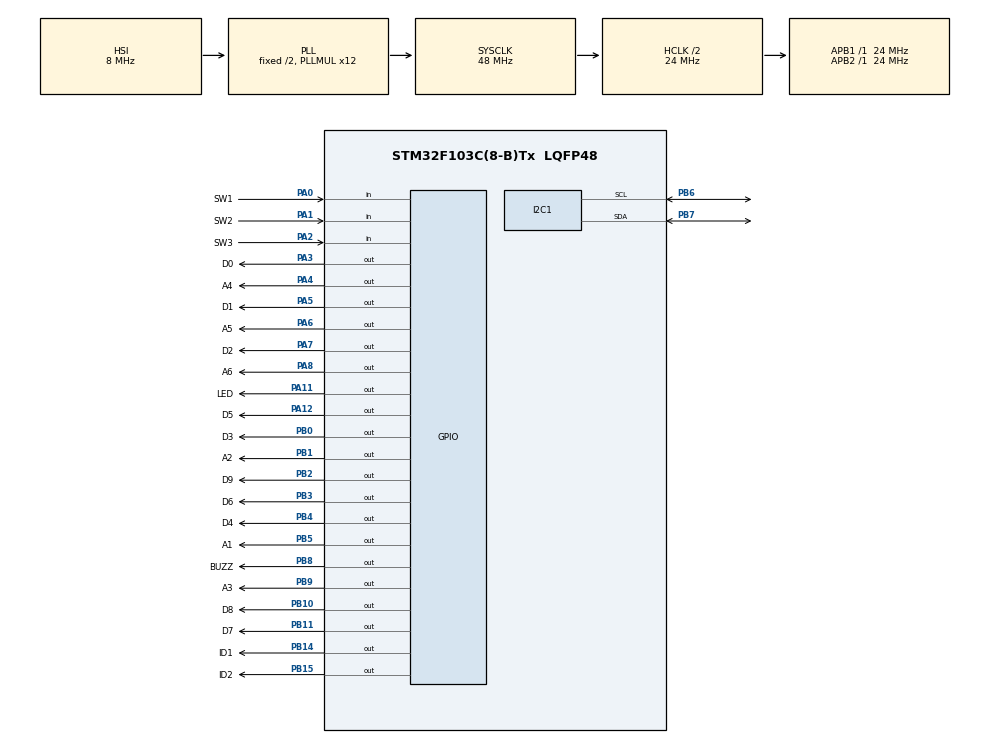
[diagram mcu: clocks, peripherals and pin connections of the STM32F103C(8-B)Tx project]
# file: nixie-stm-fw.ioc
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Mcu.Family=STM32F1
Mcu.Name=STM32F103C(8-B)Tx
Mcu.Package=LQFP48
NVIC.PriorityGroup=NVIC_PRIORITYGROUP_4
PA0-WKUP.GPIO_Label=SW1
PA0-WKUP.GPIO_PuPd=GPIO_PULLUP
PA0-WKUP.Signal=GPIO_Input
PA1.GPIO_Label=SW2
PA1.GPIO_PuPd=GPIO_PULLUP
PA1.Signal=GPIO_Input
PA11.GPIO_Label=LED
PA11.Signal=GPIO_Output
PA12.GPIO_Label=D5
PA12.Signal=GPIO_Output
PA13.Mode=Serial_Wire
PA13.Signal=SYS_JTMS-SWDIO
PA14.Mode=Serial_Wire
PA14.Signal=SYS_JTCK-SWCLK
PA2.GPIO_Label=SW3
PA2.GPIO_PuPd=GPIO_PULLUP
PA2.Signal=GPIO_Input
PA3.GPIO_Label=D0
PA3.Signal=GPIO_Output
PA4.GPIO_Label=A4
PA4.Signal=GPIO_Output
PA5.GPIO_Label=D1
PA5.Signal=GPIO_Output
PA6.GPIO_Label=A5
PA6.Signal=GPIO_Output
PA7.GPIO_Label=D2
PA7.Signal=GPIO_Output
PA8.GPIO_Label=A6
PA8.Signal=GPIO_Output
PB0.GPIO_Label=D3
PB0.Signal=GPIO_Output
PB1.GPIO_Label=A2
PB1.Signal=GPIO_Output
PB10.GPIO_Label=D8
PB10.Signal=GPIO_Output
PB11.GPIO_Label=D7
PB11.Signal=GPIO_Output
PB14.GPIO_Label=ID1
PB14.Signal=GPIO_Output
PB15.GPIO_Label=ID2
PB15.Signal=GPIO_Output
PB2.GPIO_Label=D9
PB2.Signal=GPIO_Output
PB3.GPIO_Label=D6
PB3.Signal=GPIO_Output
PB4.GPIO_Label=D4
PB4.Signal=GPIO_Output
PB5.GPIO_Label=A1
PB5.Signal=GPIO_Output
PB6.Mode=I2C
PB6.Signal=I2C1_SCL
PB7.Mode=I2C
PB7.Signal=I2C1_SDA
PB8.GPIO_Label=BUZZ
PB8.Signal=GPIO_Output
PB9.GPIO_Label=A3
PB9.Signal=GPIO_Output
ProjectManager.HeapSize=0x200
ProjectManager.StackSize=0x400
ProjectManager.TargetToolchain=CMake
RCC.AHBCLKDivider=RCC_SYSCLK_DIV2
RCC.AHBFreq_Value=24000000
RCC.APB1Freq_Value=24000000
RCC.APB1TimFreq_Value=24000000
RCC.APB2Freq_Value=24000000
RCC.APB2TimFreq_Value=24000000
RCC.HCLKFreq_Value=24000000
RCC.PLLMUL=RCC_PLL_MUL12
RCC.SYSCLKFreq_VALUE=48000000
RCC.SYSCLKSource=RCC_SYSCLKSOURCE_PLLCLK
RCC.USBFreq_Value=48000000
VP_RTC_VS_RTC_Activate.Mode=RTC_Enabled
board=custom

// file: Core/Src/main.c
/* USER CODE BEGIN Header */
/**
 ******************************************************************************
 * @file           : main.c
 * @brief          : Main program body
 ******************************************************************************
 * @attention
 *
 * Copyright (c) 2025 STMicroelectronics.
 * All rights reserved.
 *
 * This software is licensed under terms that can be found in the LICENSE file
 * in the root directory of this software component.
 * If no LICENSE file comes with this software, it is provided AS-IS.
 *
 ******************************************************************************
 */
/* USER CODE END Header */
#include "main.h"

/* USER CODE BEGIN Includes */
#include "OneButtonC.h"
#include "nixie.h"
/* USER CODE END Includes */

/* USER CODE BEGIN PTD */
typedef enum
{
  STATE_DISPLAY_TIME = 0,
  STATE_DISPLAY_DATE,
  STATE_SETTING_HOURS,
  STATE_SETTING_MINUTES,
  STATE_SETTING_SECONDS,
  STATE_SETTINGS_DAY,
  STATE_SETTINGS_MONTH,
  STATE_SETTINGS_YEAR
} SystemState_t;
/* USER CODE END PTD */

/* USER CODE BEGIN PD */
#define DS3231_I2C_ADDR 0x68

#define DS3231_REG_SECOND 0x00
#define DS3231_REG_DOW 0x03

#define NIXIE_REFRESH_MS 2
#define TIME_REFRESH_MS 1000
#define TIME_SYNC_MS 60000
/* USER CODE END PD */

I2C_HandleTypeDef hi2c1;

RTC_HandleTypeDef hrtc;

/* USER CODE BEGIN PV */
uint32_t currentMs;

RTC_TimeTypeDef sTime;
RTC_DateTypeDef sDate;

RTC_TimeTypeDef sUpdTime;
RTC_DateTypeDef sUpdDate;

OneButton_t button1;
OneButton_t button2;
OneButton_t button3;

SystemState_t state = STATE_DISPLAY_TIME;

uint32_t timeLastRefreshMs = 0;
/* USER CODE END PV */

void SystemClock_Config(void);
static void MX_GPIO_Init(void);
static void MX_I2C1_Init(void);
static void MX_RTC_Init(void);
/* USER CODE BEGIN PFP */
RTC_TimeTypeDef ds3231_getTime(void);
RTC_DateTypeDef ds3231_getDate(void);
void ds3231_setTime(RTC_TimeTypeDef *time);
void ds3231_setDate(RTC_DateTypeDef *date);
void syncTimeWithDS3231(void);

void button1Press(void);
void button2Press(void);
void button3Press(void);

void displayTime(void);
void displayDate(void);
void setHours(void);
void setMinutes(void);
void setSeconds(void);
void setDay(void);
void setMonth(void);
void setYear(void);
uint8_t getDaysInMonth(uint8_t month, uint8_t year);
/* USER CODE END PFP */

int main(void)
{

  /* MCU Configuration--------------------------------------------------------*/

  /* Reset of all peripherals, Initializes the Flash interface and the Systick. */
  HAL_Init();

  /* Configure the system clock */
  SystemClock_Config();

  /* Initialize all configured peripherals */
  MX_GPIO_Init();
  MX_I2C1_Init();
  MX_RTC_Init();
  /* USER CODE BEGIN 2 */
  uint32_t nixieLastRefreshMs = 0;
  uint32_t syncTimeLastRefreshMs = 0;

  OB_Init(&button1);
  OB_Setup(&button1, SW1_GPIO_Port, SW1_Pin, true);
  OB_AttachCallback(&button1, OB_EV_PRESS, button1Press);

  OB_Init(&button2);
  OB_Setup(&button2, SW2_GPIO_Port, SW2_Pin, true);
  OB_AttachCallback(&button2, OB_EV_PRESS, button2Press);

  OB_Init(&button3);
  OB_Setup(&button3, SW3_GPIO_Port, SW3_Pin, true);
  OB_AttachCallback(&button3, OB_EV_PRESS, button3Press);

  nixie_setDigits((uint8_t[]){0, 0, 0, 0, 0, 0}); // Set initial digits to display
  syncTimeWithDS3231();                           // Sync time from DS3231 to RTC
  /* USER CODE END 2 */

  /* Infinite loop */
  /* USER CODE BEGIN WHILE */
  while (1)
  {
    OB_Tick(&button1);
    OB_Tick(&button2);
    OB_Tick(&button3);

    currentMs = HAL_GetTick();

    switch (state)
    {
    case STATE_DISPLAY_TIME:
      displayTime();
      break;
    case STATE_DISPLAY_DATE:
      displayDate();
      break;
    case STATE_SETTING_HOURS:
      setHours();
      break;
    case STATE_SETTING_MINUTES:
      setMinutes();
      break;
    case STATE_SETTING_SECONDS:
      setSeconds();
      break;
    case STATE_SETTINGS_DAY:
      setDay();
      break;
    case STATE_SETTINGS_MONTH:
      setMonth();
      break;
    case STATE_SETTINGS_YEAR:
      setYear();
      break;
    default:
      break;
    }

    if ((currentMs - nixieLastRefreshMs) >= NIXIE_REFRESH_MS)
    {
      nixieLastRefreshMs = currentMs;
      nixie_refresh();
    }

    if ((currentMs - syncTimeLastRefreshMs) >= TIME_SYNC_MS)
    { // Every minute, sync time from DS3231 to RTC
      syncTimeLastRefreshMs = currentMs;
      syncTimeWithDS3231();
    }
    /* USER CODE END WHILE */

  }
}

void SystemClock_Config(void)
{
  RCC_OscInitTypeDef RCC_OscInitStruct = {0};
  RCC_ClkInitTypeDef RCC_ClkInitStruct = {0};
  RCC_PeriphCLKInitTypeDef PeriphClkInit = {0};

  /** Initializes the RCC Oscillators according to the specified parameters
   * in the RCC_OscInitTypeDef structure.
   */
  RCC_OscInitStruct.OscillatorType = RCC_OSCILLATORTYPE_HSI | RCC_OSCILLATORTYPE_LSI;
  RCC_OscInitStruct.HSIState = RCC_HSI_ON;
  RCC_OscInitStruct.HSICalibrationValue = RCC_HSICALIBRATION_DEFAULT;
  RCC_OscInitStruct.LSIState = RCC_LSI_ON;
  RCC_OscInitStruct.PLL.PLLState = RCC_PLL_ON;
  RCC_OscInitStruct.PLL.PLLSource = RCC_PLLSOURCE_HSI_DIV2;
  RCC_OscInitStruct.PLL.PLLMUL = RCC_PLL_MUL12;
  if (HAL_RCC_OscConfig(&RCC_OscInitStruct) != HAL_OK)
  {
    Error_Handler();
  }

  /** Initializes the CPU, AHB and APB buses clocks
   */
  RCC_ClkInitStruct.ClockType = RCC_CLOCKTYPE_HCLK | RCC_CLOCKTYPE_SYSCLK | RCC_CLOCKTYPE_PCLK1 | RCC_CLOCKTYPE_PCLK2;
  RCC_ClkInitStruct.SYSCLKSource = RCC_SYSCLKSOURCE_PLLCLK;
  RCC_ClkInitStruct.AHBCLKDivider = RCC_SYSCLK_DIV2;
  RCC_ClkInitStruct.APB1CLKDivider = RCC_HCLK_DIV1;
  RCC_ClkInitStruct.APB2CLKDivider = RCC_HCLK_DIV1;

  if (HAL_RCC_ClockConfig(&RCC_ClkInitStruct, FLASH_LATENCY_1) != HAL_OK)
  {
    Error_Handler();
  }
  PeriphClkInit.PeriphClockSelection = RCC_PERIPHCLK_RTC;
  PeriphClkInit.RTCClockSelection = RCC_RTCCLKSOURCE_LSI;
  if (HAL_RCCEx_PeriphCLKConfig(&PeriphClkInit) != HAL_OK)
  {
    Error_Handler();
  }
}

static void MX_I2C1_Init(void)
{

  hi2c1.Instance = I2C1;
  hi2c1.Init.ClockSpeed = 100000;
  hi2c1.Init.DutyCycle = I2C_DUTYCYCLE_2;
  hi2c1.Init.OwnAddress1 = 0;
  hi2c1.Init.AddressingMode = I2C_ADDRESSINGMODE_7BIT;
  hi2c1.Init.DualAddressMode = I2C_DUALADDRESS_DISABLE;
  hi2c1.Init.OwnAddress2 = 0;
  hi2c1.Init.GeneralCallMode = I2C_GENERALCALL_DISABLE;
  hi2c1.Init.NoStretchMode = I2C_NOSTRETCH_DISABLE;
  if (HAL_I2C_Init(&hi2c1) != HAL_OK)
  {
    Error_Handler();
  }
}

static void MX_RTC_Init(void)
{

  /** Initialize RTC Only
   */
  hrtc.Instance = RTC;
  hrtc.Init.AsynchPrediv = RTC_AUTO_1_SECOND;
  hrtc.Init.OutPut = RTC_OUTPUTSOURCE_ALARM;
  if (HAL_RTC_Init(&hrtc) != HAL_OK)
  {
    Error_Handler();
  }
}

static void MX_GPIO_Init(void)
{
  GPIO_InitTypeDef GPIO_InitStruct = {0};

  /* GPIO Ports Clock Enable */
  __HAL_RCC_GPIOA_CLK_ENABLE();
  __HAL_RCC_GPIOB_CLK_ENABLE();

  /*Configure GPIO pin Output Level */
  HAL_GPIO_WritePin(GPIOA, D0_Pin | A4_Pin | D1_Pin | A5_Pin | D2_Pin | A6_Pin | LED_Pin | D5_Pin, GPIO_PIN_RESET);

  /*Configure GPIO pin Output Level */
  HAL_GPIO_WritePin(GPIOB, D3_Pin | A2_Pin | D9_Pin | D8_Pin | D7_Pin | ID1_Pin | ID2_Pin | D6_Pin | D4_Pin | A1_Pin | BUZZ_Pin | A3_Pin, GPIO_PIN_RESET);

  /*Configure GPIO pins : SW1_Pin SW2_Pin SW3_Pin */
  GPIO_InitStruct.Pin = SW1_Pin | SW2_Pin | SW3_Pin;
  GPIO_InitStruct.Mode = GPIO_MODE_INPUT;
  GPIO_InitStruct.Pull = GPIO_PULLUP;
  HAL_GPIO_Init(GPIOA, &GPIO_InitStruct);

  /*Configure GPIO pins : D0_Pin A4_Pin D1_Pin A5_Pin
                           D2_Pin A6_Pin LED_Pin D5_Pin */
  GPIO_InitStruct.Pin = D0_Pin | A4_Pin | D1_Pin | A5_Pin | D2_Pin | A6_Pin | LED_Pin | D5_Pin;
  GPIO_InitStruct.Mode = GPIO_MODE_OUTPUT_PP;
  GPIO_InitStruct.Pull = GPIO_NOPULL;
  GPIO_InitStruct.Speed = GPIO_SPEED_FREQ_LOW;
  HAL_GPIO_Init(GPIOA, &GPIO_InitStruct);

  /*Configure GPIO pins : D3_Pin A2_Pin D9_Pin D8_Pin
                           D7_Pin ID1_Pin ID2_Pin D6_Pin
                           D4_Pin A1_Pin BUZZ_Pin A3_Pin */
  GPIO_InitStruct.Pin = D3_Pin | A2_Pin | D9_Pin | D8_Pin | D7_Pin | ID1_Pin | ID2_Pin | D6_Pin | D4_Pin | A1_Pin | BUZZ_Pin | A3_Pin;
  GPIO_InitStruct.Mode = GPIO_MODE_OUTPUT_PP;
  GPIO_InitStruct.Pull = GPIO_NOPULL;
  GPIO_InitStruct.Speed = GPIO_SPEED_FREQ_LOW;
  HAL_GPIO_Init(GPIOB, &GPIO_InitStruct);

}

/* USER CODE BEGIN 4 */
RTC_TimeTypeDef ds3231_getTime(void)
{
  RTC_TimeTypeDef time;

  uint8_t addr[] = {DS3231_REG_SECOND};
  uint8_t buffer[3];

  HAL_I2C_Master_Transmit(&hi2c1, DS3231_I2C_ADDR << 1, addr, 1, HAL_MAX_DELAY);
  HAL_I2C_Master_Receive(&hi2c1, DS3231_I2C_ADDR << 1, buffer, 3, HAL_MAX_DELAY);

  time.Hours = ((buffer[2] >> 4) & 0x03) * 10 + (buffer[2] & 0x0F);
  time.Minutes = ((buffer[1] >> 4) & 0x07) * 10 + (buffer[1] & 0x0F);
  time.Seconds = ((buffer[0] >> 4) & 0x07) * 10 + (buffer[0] & 0x0F);

  return time;
}

RTC_DateTypeDef ds3231_getDate(void)
{
  RTC_DateTypeDef date;

  uint8_t addr[] = {DS3231_REG_DOW};
  uint8_t buffer[4];

  HAL_I2C_Master_Transmit(&hi2c1, DS3231_I2C_ADDR << 1, addr, 1, HAL_MAX_DELAY);
  HAL_I2C_Master_Receive(&hi2c1, DS3231_I2C_ADDR << 1, buffer, 4, HAL_MAX_DELAY);

  date.Year = ((buffer[3] >> 4) & 0x0F) * 10 + (buffer[3] & 0x0F);
  date.Month = ((buffer[2] >> 4) & 0x01) * 10 + (buffer[2] & 0x0F);
  date.Date = ((buffer[1] >> 4) & 0x03) * 10 + (buffer[1] & 0x0F);
  date.WeekDay = buffer[0] & 0x07;

  return date;
}

void ds3231_setTime(RTC_TimeTypeDef *time)
{
  uint8_t buffer[4];

  buffer[0] = DS3231_REG_SECOND;
  buffer[1] = ((time->Seconds / 10) << 4) | (time->Seconds % 10);
  buffer[2] = ((time->Minutes / 10) << 4) | (time->Minutes % 10);
  buffer[3] = ((time->Hours / 10) << 4) | (time->Hours % 10);

  HAL_I2C_Master_Transmit(&hi2c1, DS3231_I2C_ADDR << 1, buffer, 4, HAL_MAX_DELAY);
}

void ds3231_setDate(RTC_DateTypeDef *date)
{
  uint8_t buffer[5];

  buffer[0] = DS3231_REG_DOW;
  buffer[1] = date->WeekDay & 0x07;
  buffer[2] = ((date->Date / 10) << 4) | (date->Date % 10);
  buffer[3] = ((date->Month / 10) << 4) | (date->Month % 10);
  buffer[4] = ((date->Year / 10) << 4) | (date->Year % 10);

  HAL_I2C_Master_Transmit(&hi2c1, DS3231_I2C_ADDR << 1, buffer, 5, HAL_MAX_DELAY);
}

void syncTimeWithDS3231(void)
{
  sTime = ds3231_getTime();
  sDate = ds3231_getDate();
  HAL_RTC_SetTime(&hrtc, &sTime, RTC_FORMAT_BIN);
  HAL_RTC_SetDate(&hrtc, &sDate, RTC_FORMAT_BIN);
}

void button1Press(void)
{
  if (state == STATE_SETTING_HOURS)
  {
    sUpdTime.Hours = (sUpdTime.Hours >= 23) ? 0 : sUpdTime.Hours + 1;
    return;
  }

  if (state == STATE_SETTING_MINUTES)
  {
    sUpdTime.Minutes = (sUpdTime.Minutes >= 59) ? 0 : sUpdTime.Minutes + 1;
    return;
  }

  if (state == STATE_SETTING_SECONDS)
  {
    sUpdTime.Seconds = (sUpdTime.Seconds >= 59) ? 0 : sUpdTime.Seconds + 1;
    return;
  }

  if (state == STATE_SETTINGS_DAY)
  {
    uint8_t daysInMonth = getDaysInMonth(sUpdDate.Month, sUpdDate.Year);
    sUpdDate.Date = (sUpdDate.Date >= daysInMonth) ? 1 : sUpdDate.Date + 1;
    return;
  }

  if (state == STATE_SETTINGS_MONTH)
  {
    sUpdDate.Month = (sUpdDate.Month >= 12) ? 1 : sUpdDate.Month + 1;
    return;
  }

  if (state == STATE_SETTINGS_YEAR)
  {
    sUpdDate.Year = (sUpdDate.Year >= 99) ? 0 : sUpdDate.Year + 1;
    return;
  }
}

void button2Press(void)
{
  if (state == STATE_DISPLAY_TIME || state == STATE_DISPLAY_DATE)
  {
    state = STATE_SETTING_HOURS;
    sUpdTime = sTime;
    return;
  }

  if (state == STATE_SETTING_HOURS)
  {
    state = STATE_SETTING_MINUTES;
    return;
  }

  if (state == STATE_SETTING_MINUTES)
  {
    state = STATE_SETTING_SECONDS;
    return;
  }

  if (state == STATE_SETTING_SECONDS)
  {
    state = STATE_SETTINGS_DAY;
    HAL_RTC_SetTime(&hrtc, &sUpdTime, RTC_FORMAT_BIN);
    ds3231_setTime(&sUpdTime);
    sUpdDate = sDate;
    return;
  }

  if (state == STATE_SETTINGS_DAY)
  {
    state = STATE_SETTINGS_MONTH;
    return;
  }

  if (state == STATE_SETTINGS_MONTH)
  {
    state = STATE_SETTINGS_YEAR;
    return;
  }

  if (state == STATE_SETTINGS_YEAR)
  {
    state = STATE_DISPLAY_TIME;
    HAL_RTC_SetDate(&hrtc, &sUpdDate, RTC_FORMAT_BIN);
    ds3231_setDate(&sUpdDate);
    return;
  }
}

void button3Press(void)
{
  if (state == STATE_SETTING_HOURS)
  {
    sUpdTime.Hours = (sUpdTime.Hours > 0) ? sUpdTime.Hours - 1 : 24;
    return;
  }

  if (state == STATE_SETTING_MINUTES)
  {
    sUpdTime.Minutes = (sUpdTime.Minutes > 0) ? sUpdTime.Minutes - 1 : 59;
    return;
  }

  if (state == STATE_SETTING_SECONDS)
  {
    sUpdTime.Seconds = (sUpdTime.Seconds > 0) ? sUpdTime.Seconds - 1 : 59;
    return;
  }

  if (state == STATE_SETTINGS_DAY)
  {
    uint8_t daysInMonth = getDaysInMonth(sUpdDate.Month, sUpdDate.Year);
    sUpdDate.Date = (sUpdDate.Date > 1) ? sUpdDate.Date - 1 : daysInMonth;
    return;
  }

  if (state == STATE_SETTINGS_MONTH)
  {
    sUpdDate.Month = (sUpdDate.Month > 1) ? sUpdDate.Month - 1 : 12;
    return;
  }

  if (state == STATE_SETTINGS_YEAR)
  {
    sUpdDate.Year = (sUpdDate.Year > 0) ? sUpdDate.Year - 1 : 99;
    return;
  }
}

void displayTime(void)
{
  if ((currentMs - timeLastRefreshMs) >= TIME_REFRESH_MS)
  {
    HAL_RTC_GetTime(&hrtc, &sTime, RTC_FORMAT_BIN);
    nixie_setDigits((uint8_t[]){sTime.Hours / 10, sTime.Hours % 10, sTime.Minutes / 10, sTime.Minutes % 10, sTime.Seconds / 10, sTime.Seconds % 10});
    timeLastRefreshMs = currentMs;
  }
}

void displayDate(void)
{
  if ((currentMs - timeLastRefreshMs) >= TIME_REFRESH_MS)
  {
    HAL_RTC_GetDate(&hrtc, &sDate, RTC_FORMAT_BIN);
    nixie_setDigits((uint8_t[]){sDate.Date / 10, sDate.Date % 10, sDate.Month / 10, sDate.Month % 10, sDate.Year / 10, sDate.Year % 10});
    timeLastRefreshMs = currentMs;
  }
}

void setHours(void)
{
  nixie_setDigits((uint8_t[]){nixie_blink(sUpdTime.Hours / 10), nixie_blink(sUpdTime.Hours % 10), sUpdTime.Minutes / 10, sUpdTime.Minutes % 10, sUpdTime.Seconds / 10, sUpdTime.Seconds % 10});
}

void setMinutes(void)
{
  nixie_setDigits((uint8_t[]){sUpdTime.Hours / 10, sUpdTime.Hours % 10, nixie_blink(sUpdTime.Minutes / 10), nixie_blink(sUpdTime.Minutes % 10), sUpdTime.Seconds / 10, sUpdTime.Seconds % 10});
}

void setSeconds(void)
{
  nixie_setDigits((uint8_t[]){sUpdTime.Hours / 10, sUpdTime.Hours % 10, sUpdTime.Minutes / 10, sUpdTime.Minutes % 10, nixie_blink(sUpdTime.Seconds / 10), nixie_blink(sUpdTime.Seconds % 10)});
}

void setDay(void)
{
  nixie_setDigits((uint8_t[]){nixie_blink(sUpdDate.Date / 10), nixie_blink(sUpdDate.Date % 10), sUpdDate.Month / 10, sUpdDate.Month % 10, sUpdDate.Year / 10, sUpdDate.Year % 10});
}

void setMonth(void)
{
  nixie_setDigits((uint8_t[]){sUpdDate.Date / 10, sUpdDate.Date % 10, nixie_blink(sUpdDate.Month / 10), nixie_blink(sUpdDate.Month % 10), sUpdDate.Year / 10, sUpdDate.Year % 10});
}

void setYear(void)
{
  nixie_setDigits((uint8_t[]){sUpdDate.Date / 10, sUpdDate.Date % 10, sUpdDate.Month / 10, sUpdDate.Month % 10, nixie_blink(sUpdDate.Year / 10), nixie_blink(sUpdDate.Year % 10)});
}

uint8_t getDaysInMonth(uint8_t month, uint8_t year)
{
  if (month == 4 || month == 6 || month == 9 || month == 11)
  {
    return 30; // April, June, September, November
  }
  else if (month == 2)
  {
    if ((year % 4 == 0 && year % 100 != 0) || (year % 400 == 0))
    {
      return 29; // Leap year
    }
    else
    {
      return 28; // Non-leap year
    }
  }
  else
  {
    return 31; // January, March, May, July, August, October, December
  }
}
/* USER CODE END 4 */

void Error_Handler(void)
{
  __disable_irq();
  while (1)
  {
  }
}
